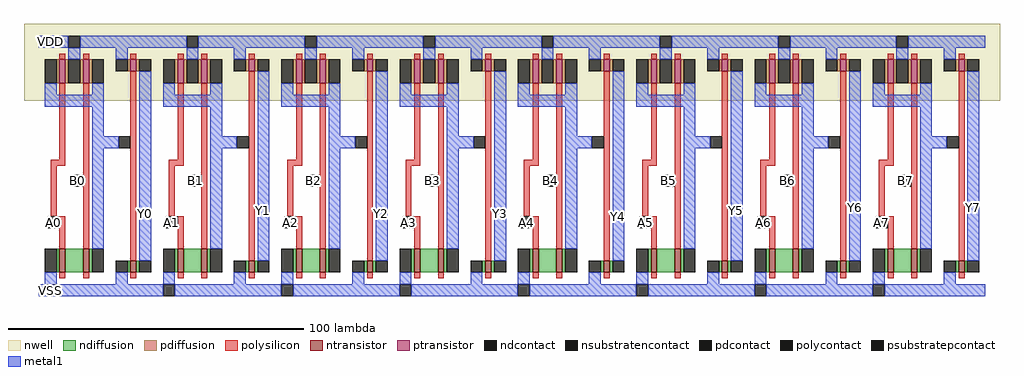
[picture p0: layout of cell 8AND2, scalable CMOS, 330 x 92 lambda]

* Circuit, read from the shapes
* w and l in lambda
.subckt 8AND2 A0 A1 A2 A3 A4 A5 A6 A7 B0 B1 B2 B3 B4 B5 B6 B7 VDD VSS Y0 Y1 Y2 Y3 Y4 Y5 Y6 Y7
M1 n1 A0 VSS VSS nfet w=8 l=2
M2 n2 B0 n1 VSS nfet w=8 l=2
M3 Y0 n2 VSS VSS nfet w=4 l=2
M4 n3 A1 VSS VSS nfet w=8 l=2
M5 n4 B1 n3 VSS nfet w=8 l=2
M6 Y1 n4 VSS VSS nfet w=4 l=2
M7 n5 A2 VSS VSS nfet w=8 l=2
M8 n6 B2 n5 VSS nfet w=8 l=2
M9 Y2 n6 VSS VSS nfet w=4 l=2
M10 n7 A3 VSS VSS nfet w=8 l=2
M11 n8 B3 n7 VSS nfet w=8 l=2
M12 Y3 n8 VSS VSS nfet w=4 l=2
M13 n9 A4 VSS VSS nfet w=8 l=2
M14 n10 B4 n9 VSS nfet w=8 l=2
M15 Y4 n10 VSS VSS nfet w=4 l=2
M16 n11 A5 VSS VSS nfet w=8 l=2
M17 n12 B5 n11 VSS nfet w=8 l=2
M18 Y5 n12 VSS VSS nfet w=4 l=2
M19 n13 A6 VSS VSS nfet w=8 l=2
M20 n14 B6 n13 VSS nfet w=8 l=2
M21 Y6 n14 VSS VSS nfet w=4 l=2
M22 n15 A7 VSS VSS nfet w=8 l=2
M23 n16 B7 n15 VSS nfet w=8 l=2
M24 Y7 n16 VSS VSS nfet w=4 l=2
M25 VDD A0 n2 VDD pfet w=8 l=2
M26 n2 B0 VDD VDD pfet w=8 l=2
M27 Y0 n2 VDD VDD pfet w=4 l=2
M28 VDD A1 n4 VDD pfet w=8 l=2
M29 n4 B1 VDD VDD pfet w=8 l=2
M30 Y1 n4 VDD VDD pfet w=4 l=2
M31 VDD A2 n6 VDD pfet w=8 l=2
M32 n6 B2 VDD VDD pfet w=8 l=2
M33 Y2 n6 VDD VDD pfet w=4 l=2
M34 VDD A3 n8 VDD pfet w=8 l=2
M35 n8 B3 VDD VDD pfet w=8 l=2
M36 Y3 n8 VDD VDD pfet w=4 l=2
M37 VDD A4 n10 VDD pfet w=8 l=2
M38 n10 B4 VDD VDD pfet w=8 l=2
M39 Y4 n10 VDD VDD pfet w=4 l=2
M40 VDD A5 n12 VDD pfet w=8 l=2
M41 n12 B5 VDD VDD pfet w=8 l=2
M42 Y5 n12 VDD VDD pfet w=4 l=2
M43 VDD A6 n14 VDD pfet w=8 l=2
M44 n14 B6 VDD VDD pfet w=8 l=2
M45 Y6 n14 VDD VDD pfet w=4 l=2
M46 VDD A7 n16 VDD pfet w=8 l=2
M47 n16 B7 VDD VDD pfet w=8 l=2
M48 Y7 n16 VDD VDD pfet w=4 l=2
.ends

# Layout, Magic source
magic
tech scmos
<< polycontact >>
rect 16 37 20 41
rect 56 37 60 41
rect 96 37 100 41
rect 136 37 140 41
rect 176 37 180 41
rect 216 37 220 41
rect 256 37 260 41
rect 296 37 300 41
rect 8 23 12 27
rect 48 23 52 27
rect 88 23 92 27
rect 128 23 132 27
rect 168 23 172 27
rect 208 23 212 27
rect 248 23 252 27
rect 288 23 292 27
<< metal1 >>
rect 5 84 15 88
rect 39 26 43 30
rect 79 27 83 31
rect 119 26 123 30
rect 159 26 163 30
rect 199 25 203 29
rect 239 27 243 31
rect 279 28 283 32
rect 319 28 323 32
rect 5 0 13 4
use AND2  AND2_7
transform 1 0 285 0 1 0
box -5 0 45 92
use AND2  AND2_6
transform 1 0 245 0 1 0
box -5 0 45 92
use AND2  AND2_5
transform 1 0 205 0 1 0
box -5 0 45 92
use AND2  AND2_4
transform 1 0 165 0 1 0
box -5 0 45 92
use AND2  AND2_3
transform 1 0 125 0 1 0
box -5 0 45 92
use AND2  AND2_2
transform 1 0 85 0 1 0
box -5 0 45 92
use AND2  AND2_1
transform 1 0 45 0 1 0
box -5 0 45 92
use AND2  AND2_0
transform 1 0 5 0 1 0
box -5 0 45 92
<< labels >>
rlabel metal1 9 86 9 86 1 VDD
rlabel metal1 9 2 9 2 1 VSS
rlabel polycontact 10 25 10 25 1 A0
rlabel polycontact 50 25 50 25 1 A1
rlabel polycontact 90 25 90 25 1 A2
rlabel polycontact 130 25 130 25 1 A3
rlabel polycontact 170 25 170 25 1 A4
rlabel polycontact 210 25 210 25 1 A5
rlabel polycontact 250 25 250 25 1 A6
rlabel polycontact 290 25 290 25 1 A7
rlabel polycontact 18 39 18 39 1 B0
rlabel polycontact 58 39 58 39 1 B1
rlabel polycontact 98 39 98 39 1 B2
rlabel polycontact 138 39 138 39 1 B3
rlabel polycontact 178 39 178 39 1 B4
rlabel polycontact 218 39 218 39 1 B5
rlabel polycontact 258 39 258 39 1 B6
rlabel polycontact 298 39 298 39 1 B7
rlabel metal1 41 28 41 28 1 Y0
rlabel metal1 81 29 81 29 1 Y1
rlabel metal1 121 28 121 28 1 Y2
rlabel metal1 161 28 161 28 1 Y3
rlabel metal1 201 27 201 27 1 Y4
rlabel metal1 241 29 241 29 1 Y5
rlabel metal1 281 30 281 30 1 Y6
rlabel metal1 321 30 321 30 1 Y7
<< end >>

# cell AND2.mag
magic
tech scmos
<< nwell >>
rect -5 66 45 92
<< ntransistor >>
rect 7 8 9 16
rect 15 8 17 16
rect 31 8 33 12
<< ptransistor >>
rect 7 72 9 80
rect 15 72 17 80
rect 31 76 33 80
<< ndiffusion >>
rect 6 8 7 16
rect 9 8 15 16
rect 17 8 18 16
rect 30 8 31 12
rect 33 8 34 12
<< pdiffusion >>
rect 6 72 7 80
rect 9 72 10 80
rect 14 72 15 80
rect 17 72 18 80
rect 30 76 31 80
rect 33 76 34 80
<< ndcontact >>
rect 2 8 6 16
rect 18 8 22 16
rect 26 8 30 12
rect 34 8 38 12
<< pdcontact >>
rect 2 72 6 80
rect 10 72 14 80
rect 18 72 22 80
rect 26 76 30 80
rect 34 76 38 80
<< psubstratepcontact >>
rect 2 0 6 4
<< nsubstratencontact >>
rect 10 84 14 88
<< polysilicon >>
rect 7 80 9 82
rect 15 80 17 82
rect 31 80 33 82
rect 7 46 9 72
rect 4 44 9 46
rect 4 27 6 44
rect 7 16 9 27
rect 15 16 17 72
rect 31 12 33 76
rect 7 6 9 8
rect 15 6 17 8
rect 31 6 33 8
<< polycontact >>
rect 11 37 15 41
rect 3 23 7 27
rect 27 50 31 54
<< metal1 >>
rect 0 84 10 88
rect 14 84 40 88
rect 10 80 14 84
rect 26 80 30 84
rect 2 68 6 72
rect 18 68 22 72
rect 2 64 22 68
rect 18 54 22 64
rect 18 50 27 54
rect 18 16 22 50
rect 34 12 38 76
rect 2 4 6 8
rect 26 4 30 8
rect 0 0 2 4
rect 6 0 40 4
<< labels >>
rlabel psubstratepcontact 4 2 4 2 1 VSS
rlabel nsubstratencontact 12 86 12 86 1 VDD
rlabel polycontact 5 25 5 25 1 B
rlabel polycontact 13 39 13 39 1 A
rlabel metal1 36 32 36 32 1 Y
<< end >>
